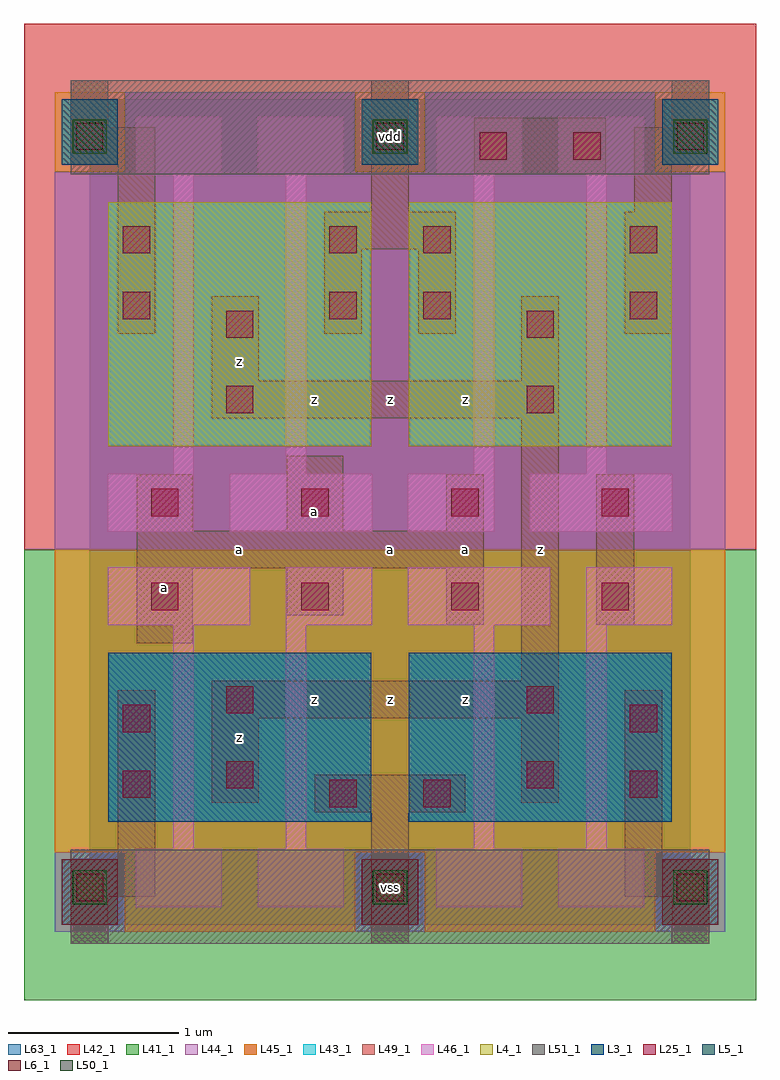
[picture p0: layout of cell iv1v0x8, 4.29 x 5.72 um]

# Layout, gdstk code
import gdstk
lib = gdstk.Library(unit=1e-6, precision=1e-09)
def R(c, l, rs):  # rectangles x0, y0, x1, y1
    for r in rs: c.add(gdstk.rectangle(r[:2], r[2:], *l))
def A(c, l, x, y, w, h, nx, ny, dx, dy):  # array of equal rectangles
    R(c, l, [(x+i*dx, y+j*dy, x+i*dx+w, y+j*dy+h) for i in range(nx) for j in range(ny)])
L3_1 = (3, 1)
L4_1 = (4, 1)
L5_1 = (5, 1)
L6_1 = (6, 1)
L25_1 = (25, 1)
L41_1 = (41, 1)
L42_1 = (42, 1)
L43_1 = (43, 1)
L44_1 = (44, 1)
L45_1 = (45, 1)
L46_1 = (46, 1)
L49_1 = (49, 1)
L50_1 = (50, 1)
L51_1 = (51, 1)
L63_1 = (63, 1)

iv1v0x8 = lib.new_cell('iv1v0x8')
R(iv1v0x8, L3_1, [(0.11,0.605,1.65,1.595), (1.87,0.605,3.41,1.595)])
R(iv1v0x8, L4_1, [(0.11,2.805,1.65,4.235), (1.87,2.805,3.41,4.235)])
A(iv1v0x8, L5_1, -0.165, 4.455, 0.33, 0.385, 3, 1, 1.76, 0)
A(iv1v0x8, L6_1, -0.165, 0, 0.33, 0.385, 3, 1, 1.76, 0)
A(iv1v0x8, L25_1, -0.08, 0.14, 0.16, 0.16, 3, 2, 1.76, 4.4)
A(iv1v0x8, L25_1, 0.36, 1.845, 0.16, 0.16, 4, 2, 0.88, 0.55)
R(iv1v0x8, L25_1, [(1.405,0.69,1.565,0.85), (1.955,0.69,2.115,0.85), (0.195,0.745,0.355,0.905), (3.165,0.745,3.325,0.905), (0.8,0.8,0.96,0.96), (2.56,0.8,2.72,0.96), (0.195,1.13,0.355,1.29), (3.165,1.13,3.325,1.29), (0.8,1.24,0.96,1.4), (2.56,1.24,2.72,1.4), (0.8,3,0.96,3.16), (2.56,3,2.72,3.16), (0.8,3.44,0.96,3.6), (2.56,3.44,2.72,3.6), (0.195,3.55,0.355,3.71), (1.405,3.55,1.565,3.71), (1.955,3.55,2.115,3.71), (3.165,3.55,3.325,3.71), (0.195,3.935,0.355,4.095), (1.405,3.935,1.565,4.095), (1.955,3.935,2.115,4.095), (3.165,3.935,3.325,4.095), (2.285,4.485,2.445,4.645), (2.835,4.485,2.995,4.645)])
R(iv1v0x8, L41_1, [(-0.385,-0.44,3.905,2.2)])
R(iv1v0x8, L42_1, [(-0.385,2.2,3.905,5.28)])
A(iv1v0x8, L43_1, -0.165, 0, 0.33, 0.385, 3, 2, 1.76, 4.455)
R(iv1v0x8, L43_1, [(0.11,0.605,1.65,1.595), (1.87,0.605,3.41,1.595), (0.11,2.805,1.65,4.235), (1.87,2.805,3.41,4.235)])
A(iv1v0x8, L44_1, -0.205, -0.04, 0.41, 0.465, 3, 1, 1.76, 0)
R(iv1v0x8, L44_1, [(-0.205,2.2,3.725,4.415), (0.205,4.415,1.555,4.88), (1.965,4.415,3.315,4.88)])
A(iv1v0x8, L45_1, -0.205, 4.415, 0.41, 0.465, 3, 1, 1.76, 0)
R(iv1v0x8, L45_1, [(0.205,-0.04,1.555,0.425), (1.965,-0.04,3.315,0.425), (-0.205,0.425,3.725,2.2)])
R(iv1v0x8, L46_1, [(0.27,0.105,0.775,0.445), (0.985,0.105,1.49,0.445), (2.03,0.105,2.535,0.445), (2.745,0.105,3.25,0.445), (0.49,0.445,0.61,1.755), (1.15,0.445,1.27,1.755), (2.25,0.445,2.37,1.755), (2.91,0.445,3.03,1.755), (0.105,1.755,0.94,2.095), (1.15,1.755,1.655,2.095), (1.865,1.755,2.7,2.095), (2.91,1.755,3.415,2.095), (0.105,2.305,0.61,2.645), (0.82,2.305,1.655,2.645), (1.865,2.305,2.37,2.645), (2.58,2.305,3.415,2.645), (0.49,2.645,0.61,4.395), (1.15,2.645,1.27,4.395), (2.25,2.645,2.37,4.395), (2.91,2.645,3.03,4.395), (0.27,4.395,0.775,4.735), (0.985,4.395,1.49,4.735), (2.03,4.395,2.535,4.735), (2.745,4.395,3.25,4.735)])
R(iv1v0x8, L49_1, [(-0.11,-0.11,0.11,0.165), (1.65,-0.11,1.87,0.66), (3.41,-0.11,3.63,0.165), (-0.11,0.165,0.385,0.385), (3.135,0.165,3.63,0.385), (0.165,0.385,0.385,1.375), (3.135,0.385,3.355,1.375), (1.32,0.66,2.2,0.88), (0.715,0.715,0.99,1.21), (2.53,0.715,2.75,1.21), (0.715,1.21,2.75,1.43), (2.53,1.43,2.75,2.97), (0.275,1.65,0.605,2.09), (2.09,1.76,2.31,2.09), (2.97,1.76,3.19,2.64), (1.155,1.815,1.485,2.09), (0.275,2.09,2.31,2.31), (0.275,2.31,0.605,2.64), (1.155,2.31,1.485,2.75), (2.09,2.31,2.31,2.64), (0.715,2.97,2.75,3.19), (0.715,3.19,0.99,3.685), (2.53,3.19,2.75,3.685), (0.165,3.465,0.385,4.455), (1.375,3.465,1.595,3.96), (1.925,3.465,2.145,3.96), (3.135,3.465,3.41,4.18), (1.375,3.96,2.145,4.18), (1.65,4.18,1.87,4.95), (3.19,4.18,3.41,4.455), (2.255,4.4,3.025,4.73), (-0.11,4.455,0.385,4.675), (3.19,4.455,3.63,4.675), (-0.11,4.675,0.11,4.95), (3.41,4.675,3.63,4.95)])
A(iv1v0x8, L50_1, -0.1, 0.12, 0.2, 0.2, 3, 2, 1.76, 4.4)
R(iv1v0x8, L51_1, [(-0.11,-0.11,3.63,0.44), (-0.11,4.4,3.63,4.95)])
R(iv1v0x8, L63_1, [(0,0,3.52,4.84)])
iv1v0x8.add(gdstk.Label('a', (0.44,1.98), layer=49, texttype=1))
iv1v0x8.add(gdstk.Label('z', (0.88,1.1), layer=49, texttype=1))
iv1v0x8.add(gdstk.Label('a', (0.88,2.2), layer=49, texttype=1))
iv1v0x8.add(gdstk.Label('z', (0.88,3.3), layer=49, texttype=1))
iv1v0x8.add(gdstk.Label('z', (1.32,1.32), layer=49, texttype=1))
iv1v0x8.add(gdstk.Label('z', (1.76,1.32), layer=49, texttype=1))
iv1v0x8.add(gdstk.Label('a', (1.32,2.42), layer=49, texttype=1))
iv1v0x8.add(gdstk.Label('a', (1.76,2.2), layer=49, texttype=1))
iv1v0x8.add(gdstk.Label('z', (1.76,3.08), layer=49, texttype=1))
iv1v0x8.add(gdstk.Label('z', (1.32,3.08), layer=49, texttype=1))
iv1v0x8.add(gdstk.Label('z', (2.2,1.32), layer=49, texttype=1))
iv1v0x8.add(gdstk.Label('a', (2.2,2.2), layer=49, texttype=1))
iv1v0x8.add(gdstk.Label('z', (2.64,2.2), layer=49, texttype=1))
iv1v0x8.add(gdstk.Label('z', (2.2,3.08), layer=49, texttype=1))
iv1v0x8.add(gdstk.Label('vss', (1.76,0.22), layer=51, texttype=1))
iv1v0x8.add(gdstk.Label('vdd', (1.76,4.62), layer=51, texttype=1))

lib.write_gds('iv1v0x8.gds')
